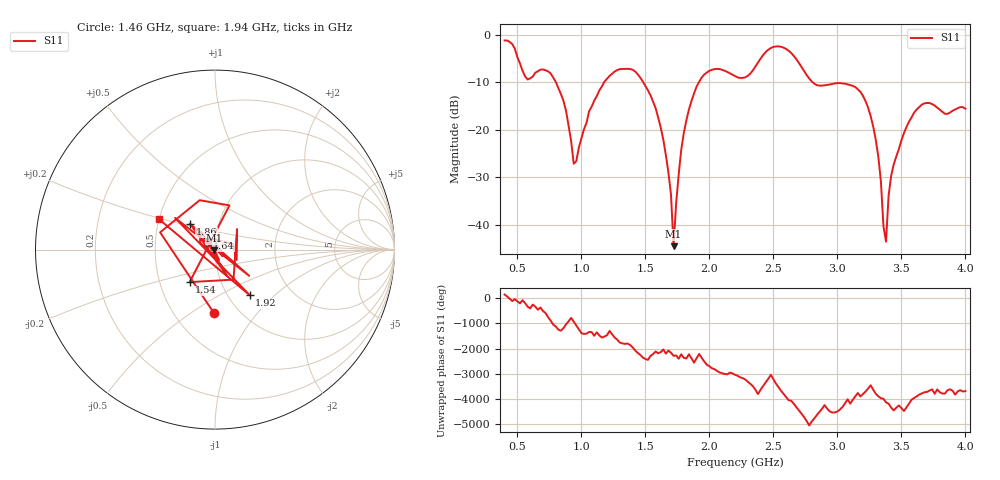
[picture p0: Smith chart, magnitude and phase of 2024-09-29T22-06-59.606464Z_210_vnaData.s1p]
!Created with skrf (http://scikit-rf.org).
# Hz S RI R 50.0
!freq ReS11 ImS11
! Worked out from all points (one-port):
!   181 points, 400 MHz to 4 GHz, reference 50 ohm
!   lowest |S11| = -44.6 dB at 1.72 GHz (marker M1), VSWR 1.01, Z = 49.7 - j0.475 ohm
!   |S11| at or under -10 dB: 800.8 MHz to 1.178 GHz (377.2 MHz wide, 38.1 % of centre); 1.483 GHz to 1.918 GHz (435.8 MHz wide, 25.6 % of centre); 2.806 GHz to end of sweep
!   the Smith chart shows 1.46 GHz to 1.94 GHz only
!   S11 on the Smith chart (normalised r, x): 1.46 GHz: 0.77, -0.62; 1.54 GHz: 0.71, -0.27; 1.64 GHz: 0.91, +0.12; 1.86 GHz: 0.73, +0.22; 1.92 GHz: 1.26, -0.71; 1.94 GHz: 0.50, +0.19
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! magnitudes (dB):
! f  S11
! 400 MHz  -1.2
! 580 MHz  -9.4
! 740 MHz  -7.7
! 860 MHz  -13.9
! 940 MHz  -27.2
! 1.1 GHz  -13.9
! 1.3 GHz  -7.2
! 1.46 GHz  -9.1
! 1.54 GHz  -12.8
! 1.64 GHz  -22.1
! 1.7 GHz  -33.7
! 1.72 GHz  -44.6
! 1.76 GHz  -29.5
! 1.86 GHz  -14.0
! 1.92 GHz  -9.9
! 1.94 GHz  -9.0
! 2.2 GHz  -8.7
! 2.5 GHz  -2.6
! 2.66 GHz  -4.5
! 2.84 GHz  -10.6
! 3.1 GHz  -10.6
! 3.28 GHz  -19.4
! 3.32 GHz  -25.7
! 3.38 GHz  -43.6
! 3.42 GHz  -29.7
! 3.56 GHz  -18.3
! 3.68 GHz  -14.5
! 4 GHz  -15.6
